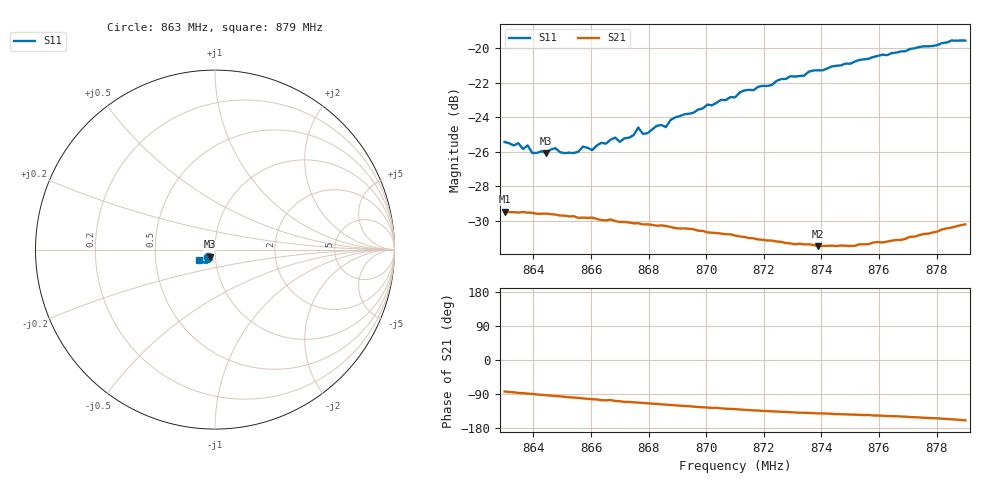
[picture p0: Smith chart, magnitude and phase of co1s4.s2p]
# HZ S RI R 50
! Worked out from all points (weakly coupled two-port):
!   101 points, 863 MHz to 879 MHz, reference 50 ohm
!   highest |S21| = -29.48 dB at 863 MHz (marker M1); lowest = -31.5 dB at 873.88 MHz (marker M2)
!   lowest |S11| = -26.1 dB at 864.44 MHz (marker M3), VSWR 1.10, Z = 47 - j3.76 ohm
!   |S11| at or under -10 dB: start of sweep to end of sweep
!   S12 and S22 are empty: the file has one direction only
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8.63e8  -0.0363 -0.0392  0.00401 -0.0333  0 0  0 0
8.638e8  -0.0326 -0.0408  0.000717 -0.0334  0 0  0 0
8.6396e8  -0.0297 -0.0398  0.000335 -0.0333  0 0  0 0
8.6444e8  -0.0294 -0.04  -0.00164 -0.0331  0 0  0 0
8.6476e8  -0.0293 -0.0421  -0.00284 -0.0328  0 0  0 0
8.654e8  -0.0245 -0.0432  -0.00516 -0.0322  0 0  0 0
8.6572e8  -0.0249 -0.0454  -0.00637 -0.0316  0 0  0 0
8.6604e8  -0.0235 -0.0448  -0.00757 -0.0314  0 0  0 0
8.6684e8  -0.0244 -0.0493  -0.00975 -0.03  0 0  0 0
8.67e8  -0.0218 -0.0489  -0.0101 -0.0297  0 0  0 0
8.6732e8  -0.0213 -0.0507  -0.011 -0.0293  0 0  0 0
8.6764e8  -0.0248 -0.0534  -0.0119 -0.0287  0 0  0 0
8.678e8  -0.0219 -0.052  -0.0122 -0.0283  0 0  0 0
8.6844e8  -0.0221 -0.0556  -0.0139 -0.0273  0 0  0 0
8.686e8  -0.0201 -0.0555  -0.0142 -0.027  0 0  0 0
8.6892e8  -0.0249 -0.0578  -0.0149 -0.0262  0 0  0 0
8.71e8  -0.0305 -0.0651  -0.0182 -0.0221  0 0  0 0
8.7132e8  -0.0325 -0.068  -0.0188 -0.0213  0 0  0 0
8.7372e8  -0.0468 -0.0723  -0.0207 -0.0172  0 0  0 0
8.7388e8  -0.0482 -0.0714  -0.0207 -0.0168  0 0  0 0
8.7644e8  -0.0683 -0.0684  -0.0235 -0.0146  0 0  0 0
8.79e8  -0.0893 -0.0553  -0.0288 -0.0109  0 0  0 0
